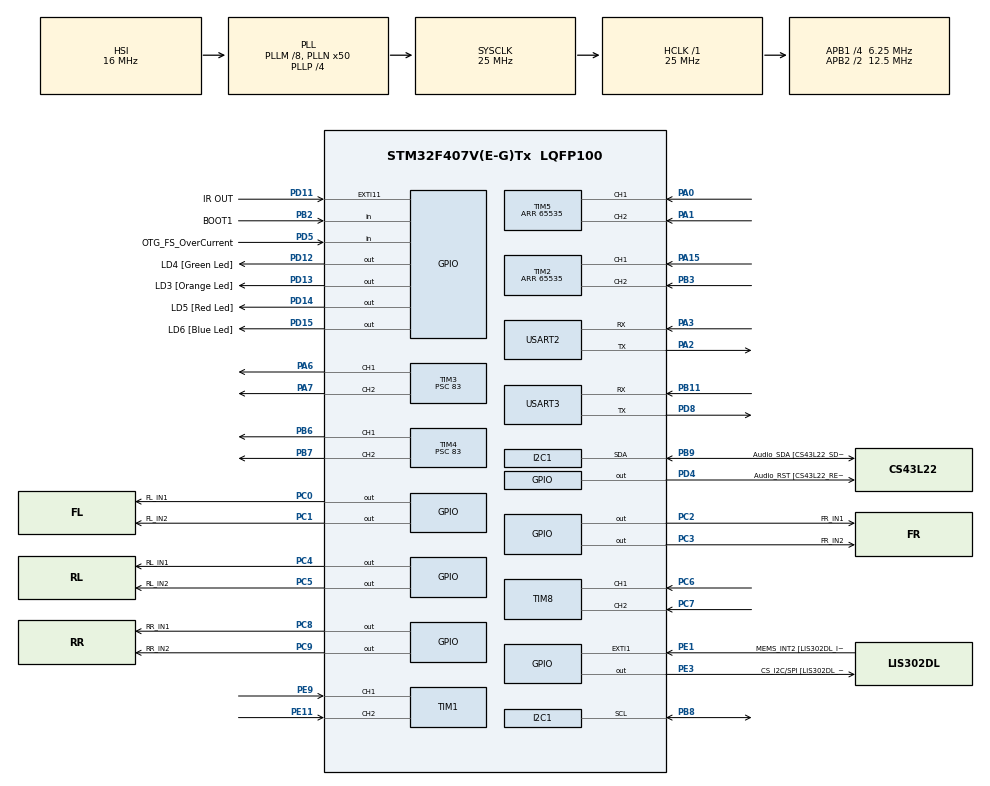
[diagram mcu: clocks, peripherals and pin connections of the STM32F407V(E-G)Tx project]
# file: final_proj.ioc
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Mcu.Family=STM32F4
Mcu.Name=STM32F407V(E-G)Tx
Mcu.Package=LQFP100
NVIC.PriorityGroup=NVIC_PRIORITYGROUP_4
NVIC.TIM7_IRQn=true\:15\:0\:false\:false\:true\:false\:true\:true
NVIC.TimeBase=TIM7_IRQn
NVIC.TimeBaseIP=TIM7
NVIC.USART2_IRQn=true\:0\:0\:false\:false\:true\:true\:true\:true
PA0-WKUP.Signal=S_TIM5_CH1
PA1.Signal=S_TIM5_CH2
PA10.GPIO_Label=OTG_FS_ID
PA10.GPIO_Mode=GPIO_MODE_AF_PP
PA10.GPIO_PuPd=GPIO_NOPULL
PA10.GPIO_Speed=GPIO_SPEED_FREQ_LOW
PA10.Signal=USB_OTG_FS_ID
PA11.GPIO_Label=OTG_FS_DM
PA11.GPIO_Mode=GPIO_MODE_AF_PP
PA11.GPIO_PuPd=GPIO_NOPULL
PA11.GPIO_Speed=GPIO_SPEED_FREQ_LOW
PA11.Signal=USB_OTG_FS_DM
PA12.GPIO_Label=OTG_FS_DP
PA12.GPIO_Mode=GPIO_MODE_AF_PP
PA12.GPIO_PuPd=GPIO_NOPULL
PA12.GPIO_Speed=GPIO_SPEED_FREQ_LOW
PA12.Signal=USB_OTG_FS_DP
PA13.GPIO_Label=SWDIO
PA13.Mode=Serial_Wire
PA13.Signal=SYS_JTMS-SWDIO
PA14.GPIO_Label=SWCLK
PA14.Mode=Serial_Wire
PA14.Signal=SYS_JTCK-SWCLK
PA15.Signal=S_TIM2_CH1_ETR
PA2.Mode=Asynchronous
PA2.Signal=USART2_TX
PA3.Mode=Asynchronous
PA3.Signal=USART2_RX
PA4.GPIO_Label=I2S3_WS [CS43L22_LRCK]
PA4.GPIO_Mode=GPIO_MODE_AF_PP
PA4.GPIO_PuPd=GPIO_NOPULL
PA4.GPIO_Speed=GPIO_SPEED_FREQ_LOW
PA4.Signal=I2S3_WS
PA5.GPIO_Label=SPI1_SCK [LIS302DL_SCL/SPC]
PA5.GPIO_Mode=GPIO_MODE_AF_PP
PA5.GPIO_PuPd=GPIO_NOPULL
PA5.GPIO_Speed=GPIO_SPEED_FREQ_LOW
PA5.Signal=SPI1_SCK
PA6.Signal=S_TIM3_CH1
PA7.Signal=S_TIM3_CH2
PA9.GPIO_Label=VBUS_FS
PA9.GPIO_Mode=GPIO_MODE_INPUT
PA9.GPIO_PuPd=GPIO_NOPULL
PA9.Signal=USB_OTG_FS_VBUS
PB10.GPIO_Label=CLK_IN [MP45DT02_CLK]
PB10.GPIO_Mode=GPIO_MODE_AF_PP
PB10.GPIO_PuPd=GPIO_NOPULL
PB10.GPIO_Speed=GPIO_SPEED_FREQ_LOW
PB10.Signal=I2S2_CK
PB11.Mode=Asynchronous
PB11.Signal=USART3_RX
PB2.GPIO_Label=BOOT1
PB2.GPIO_Mode=GPIO_MODE_INPUT
PB2.GPIO_PuPd=GPIO_NOPULL
PB2.Signal=GPIO_Input
PB3.Signal=S_TIM2_CH2
PB6.Signal=S_TIM4_CH1
PB7.Signal=S_TIM4_CH2
PB8.Mode=I2C
PB8.Signal=I2C1_SCL
PB9.GPIO_Label=Audio_SDA [CS43L22_SDA]
PB9.GPIO_Mode=GPIO_MODE_AF_OD
PB9.GPIO_PuPd=GPIO_NOPULL
PB9.GPIO_Speed=GPIO_SPEED_FREQ_LOW
PB9.Mode=I2C
PB9.Signal=I2C1_SDA
PC0.GPIO_Label=FL_IN1
PC0.Signal=GPIO_Output
PC1.GPIO_Label=FL_IN2
PC1.Signal=GPIO_Output
PC10.GPIO_Label=I2S3_SCK [CS43L22_SCLK]
PC10.GPIO_Mode=GPIO_MODE_AF_PP
PC10.GPIO_PuPd=GPIO_NOPULL
PC10.GPIO_Speed=GPIO_SPEED_FREQ_LOW
PC10.Signal=I2S3_CK
PC12.GPIO_Label=I2S3_SD [CS43L22_SDIN]
PC12.GPIO_Mode=GPIO_MODE_AF_PP
PC12.GPIO_PuPd=GPIO_NOPULL
PC12.GPIO_Speed=GPIO_SPEED_FREQ_LOW
PC12.Signal=I2S3_SD
PC14-OSC32_IN.GPIO_Label=PC14-OSC32_IN
PC14-OSC32_IN.Signal=RCC_OSC32_IN
PC15-OSC32_OUT.GPIO_Label=PC15-OSC32_OUT
PC15-OSC32_OUT.Signal=RCC_OSC32_OUT
PC2.GPIO_Label=FR_IN1
PC2.Signal=GPIO_Output
PC3.GPIO_Label=FR_IN2
PC3.Signal=GPIO_Output
PC4.GPIO_Label=RL_IN1
PC4.Signal=GPIO_Output
PC5.GPIO_Label=RL_IN2
PC5.Signal=GPIO_Output
PC6.Signal=S_TIM8_CH1
PC7.Signal=S_TIM8_CH2
PC8.GPIO_Label=RR_IN1
PC8.Signal=GPIO_Output
PC9.GPIO_Label=RR_IN2
PC9.Signal=GPIO_Output
PD11.GPIO_Label=IR OUT
PD11.Signal=GPXTI11
PD12.GPIO_Label=LD4 [Green Led]
PD12.GPIO_PuPd=GPIO_NOPULL
PD12.GPIO_Speed=GPIO_SPEED_FREQ_LOW
PD12.Signal=GPIO_Output
PD13.GPIO_Label=LD3 [Orange Led]
PD13.GPIO_PuPd=GPIO_NOPULL
PD13.GPIO_Speed=GPIO_SPEED_FREQ_LOW
PD13.Signal=GPIO_Output
PD14.GPIO_Label=LD5 [Red Led]
PD14.GPIO_PuPd=GPIO_NOPULL
PD14.GPIO_Speed=GPIO_SPEED_FREQ_LOW
PD14.Signal=GPIO_Output
PD15.GPIO_Label=LD6 [Blue Led]
PD15.GPIO_PuPd=GPIO_NOPULL
PD15.GPIO_Speed=GPIO_SPEED_FREQ_LOW
PD15.Signal=GPIO_Output
PD4.GPIO_Label=Audio_RST [CS43L22_RESET]
PD4.GPIO_PuPd=GPIO_NOPULL
PD4.GPIO_Speed=GPIO_SPEED_FREQ_LOW
PD4.Signal=GPIO_Output
PD5.GPIO_Label=OTG_FS_OverCurrent
PD5.GPIO_Mode=GPIO_MODE_INPUT
PD5.GPIO_PuPd=GPIO_NOPULL
PD5.Signal=GPIO_Input
PD8.Mode=Asynchronous
PD8.Signal=USART3_TX
PE1.GPIO_Label=MEMS_INT2 [LIS302DL_INT2]
PE1.GPIO_ModeDefaultEXTI=GPIO_MODE_EVT_RISING
PE1.GPIO_PuPd=GPIO_NOPULL
PE1.Signal=GPXTI1
PE11.Signal=S_TIM1_CH2
PE3.GPIO_Label=CS_I2C/SPI [LIS302DL_CS_I2C/SPI]
PE3.GPIO_PuPd=GPIO_NOPULL
PE3.GPIO_Speed=GPIO_SPEED_FREQ_LOW
PE3.Signal=GPIO_Output
PE9.Signal=S_TIM1_CH1
PH0-OSC_IN.GPIO_Label=PH0-OSC_IN
PH0-OSC_IN.Signal=RCC_OSC_IN
PH1-OSC_OUT.GPIO_Label=PH1-OSC_OUT
PH1-OSC_OUT.Signal=RCC_OSC_OUT
ProjectManager.HeapSize=0x200
ProjectManager.StackSize=0x400
ProjectManager.TargetToolchain=STM32CubeIDE
RCC.48MHZClocksFreq_Value=14285714.285714285
RCC.AHBFreq_Value=25000000
RCC.APB1CLKDivider=RCC_HCLK_DIV4
RCC.APB1Freq_Value=6250000
RCC.APB1TimFreq_Value=12500000
RCC.APB2CLKDivider=RCC_HCLK_DIV2
RCC.APB2Freq_Value=12500000
RCC.APB2TimFreq_Value=25000000
RCC.CortexFreq_Value=25000000
RCC.HCLKFreq_Value=25000000
RCC.HSE_VALUE=8000000
RCC.HSI_VALUE=16000000
RCC.LSE_VALUE=32768
RCC.PLLM=8
RCC.PLLN=50
RCC.PLLP=RCC_PLLP_DIV4
RCC.PLLQ=7
RCC.SYSCLKFreq_VALUE=25000000
RCC.SYSCLKSource=RCC_SYSCLKSOURCE_PLLCLK
RCC.VCOOutputFreq_Value=100000000
SH.S_TIM1_CH1.0=TIM1_CH1,Encoder_Interface
SH.S_TIM1_CH2.0=TIM1_CH2,Encoder_Interface
SH.S_TIM2_CH1_ETR.0=TIM2_CH1,Encoder_Interface
SH.S_TIM2_CH2.0=TIM2_CH2,Encoder_Interface
SH.S_TIM3_CH1.0=TIM3_CH1,PWM Generation1 CH1
SH.S_TIM3_CH2.0=TIM3_CH2,PWM Generation2 CH2
SH.S_TIM4_CH1.0=TIM4_CH1,PWM Generation1 CH1
SH.S_TIM4_CH2.0=TIM4_CH2,PWM Generation2 CH2
SH.S_TIM5_CH1.0=TIM5_CH1,Encoder_Interface
SH.S_TIM5_CH2.0=TIM5_CH2,Encoder_Interface
SH.S_TIM8_CH1.0=TIM8_CH1,Encoder_Interface
SH.S_TIM8_CH2.0=TIM8_CH2,Encoder_Interface
TIM1.EncoderMode=TIM_ENCODERMODE_TI12
TIM2.EncoderMode=TIM_ENCODERMODE_TI12
TIM2.Period=65535
TIM3.AutoReloadPreload=TIM_AUTORELOAD_PRELOAD_ENABLE
TIM3.Channel-PWM\ Generation1\ CH1=TIM_CHANNEL_1
TIM3.Channel-PWM\ Generation2\ CH2=TIM_CHANNEL_2
TIM3.Period=999
TIM3.Prescaler=83
TIM4.AutoReloadPreload=TIM_AUTORELOAD_PRELOAD_ENABLE
TIM4.Channel-PWM\ Generation1\ CH1=TIM_CHANNEL_1
TIM4.Channel-PWM\ Generation2\ CH2=TIM_CHANNEL_2
TIM4.Period=999
TIM4.Prescaler=83
TIM5.EncoderMode=TIM_ENCODERMODE_TI12
TIM5.Period=65535
TIM8.EncoderMode=TIM_ENCODERMODE_TI12
USART2.VirtualMode=VM_ASYNC
USART3.VirtualMode=VM_ASYNC
VP_SYS_VS_tim7.Mode=TIM7
VP_TIM3_VS_ClockSourceINT.Mode=Internal
VP_TIM4_VS_ClockSourceINT.Mode=Internal
board=STM32F407G-DISC1

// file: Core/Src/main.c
/* USER CODE BEGIN Header */
/**
  ******************************************************************************
  * @file           : main.c
  * @brief          : Main program body
  ******************************************************************************
  * @attention
  *
  * Copyright (c) 2025 STMicroelectronics.
  * All rights reserved.
  *
  * This software is licensed under terms that can be found in the LICENSE file
  * in the root directory of this software component.
  * If no LICENSE file comes with this software, it is provided AS-IS.
  *
  ******************************************************************************
  */
/* USER CODE END Header */
#include "main.h"

/* USER CODE BEGIN Includes */
#include "FreeRTOS.h"
#include "task.h"
#include <stdlib.h>
#include <stdio.h>
#include <string.h>
#include "myprintf.h"
#include "ssd1306.h"
#include "ssd1306_fonts.h"
/* USER CODE END Includes */

/* USER CODE BEGIN PTD */
typedef struct {
	int16_t speedFL;
	int16_t speedFR;
	int16_t speedRL;
	int16_t speedRR;
} MotorSpeed_t;
typedef enum {
    STATE_RESET,
    STATE_INIT,
    STATE_JOIN_WIFI,
    STATE_CHECK_STATUS,
    STATE_GET_IP,
	STATE_CONNECT_TCP,
    STATE_DONE
} esp8266_state_t;
/* USER CODE END PTD */

/* USER CODE BEGIN PD */
#define MAX_LINEAR_SPEED 0.5f
#define MAX_PWM 999
#define CPR (11*4)
#define GEAR_RATIO 30
#define DT 0.01f
/* USER CODE END PD */

/* USER CODE BEGIN PM */
#define resp_len 128
/* USER CODE END PM */

I2C_HandleTypeDef hi2c1;

TIM_HandleTypeDef htim1;
TIM_HandleTypeDef htim2;
TIM_HandleTypeDef htim3;
TIM_HandleTypeDef htim4;
TIM_HandleTypeDef htim5;
TIM_HandleTypeDef htim8;

UART_HandleTypeDef huart2;
UART_HandleTypeDef huart3;

/* USER CODE BEGIN PV */
MotorSpeed_t motorSpeedCmd = {0};
float scale = MAX_PWM / MAX_LINEAR_SPEED;
int16_t prev_encoder_count[4] = {0};
float motor_rpm[4];
int wheel_rpm[4];
char resp[resp_len];
volatile int if_resp_callback;
volatile int if_resp_timeout;
volatile int resp_index;
float Vx = 0, Vy = 0, W = 0;
/* USER CODE END PV */

void SystemClock_Config(void);
static void MX_GPIO_Init(void);
static void MX_TIM3_Init(void);
static void MX_TIM4_Init(void);
static void MX_TIM1_Init(void);
static void MX_TIM2_Init(void);
static void MX_TIM8_Init(void);
static void MX_TIM5_Init(void);
static void MX_USART3_UART_Init(void);
static void MX_USART2_UART_Init(void);
static void MX_I2C1_Init(void);
/* USER CODE BEGIN PFP */
void KinematicsTask(void*);
void MotorTask(void*);
void CommunicationTask(void*);
void EncoderTask(void*);
void MonitorTask(void*);
/* USER CODE END PFP */

/* USER CODE BEGIN 0 */
void Motor_Set(int motor_id, int16_t speed)
{
    uint8_t dir = (speed >= 0) ? 1 : 0;
    uint16_t pwm = (uint16_t)abs(speed);
    if (pwm > 999) pwm = 999;

    switch(motor_id)
        {
            case 0: // FL
                HAL_GPIO_WritePin(GPIOC, FL_IN1_Pin, dir);
                HAL_GPIO_WritePin(GPIOC, FL_IN2_Pin, !dir);
                __HAL_TIM_SET_COMPARE(&htim3, TIM_CHANNEL_2, pwm);
                break;

            case 1: // FR
                HAL_GPIO_WritePin(GPIOC, FR_IN1_Pin, dir);
                HAL_GPIO_WritePin(GPIOC, FR_IN2_Pin, !dir);
                __HAL_TIM_SET_COMPARE(&htim4, TIM_CHANNEL_2, pwm);
                break;

            case 2: // RL
                HAL_GPIO_WritePin(GPIOC, RL_IN1_Pin, dir);
                HAL_GPIO_WritePin(GPIOC, RL_IN2_Pin, !dir);
                __HAL_TIM_SET_COMPARE(&htim3, TIM_CHANNEL_1, pwm);
                break;

            case 3: // RR
                HAL_GPIO_WritePin(GPIOC, RR_IN1_Pin, dir);
                HAL_GPIO_WritePin(GPIOC, RR_IN2_Pin, !dir);
                __HAL_TIM_SET_COMPARE(&htim4, TIM_CHANNEL_1, pwm);
                break;
        }
}

void MotorTask(void *pvParameter)
{
    for (;;)
    {
        Motor_Set(0, motorSpeedCmd.speedFL);
        Motor_Set(1, motorSpeedCmd.speedFR);
        Motor_Set(2, motorSpeedCmd.speedRL);
        Motor_Set(3, motorSpeedCmd.speedRR);

        vTaskDelay(pdMS_TO_TICKS(20));
    }
}

void KinematicsTask(void *pvParameter)
{
    float L = 0.085f, Wd = 0.085f;

    for (;;)
    {
        motorSpeedCmd.speedFL = (int16_t)((Vx - Vy - W * (L + Wd)) * scale);
        motorSpeedCmd.speedFR = (int16_t)((Vx + Vy + W * (L + Wd)) * scale);
        motorSpeedCmd.speedRL = (int16_t)((Vx + Vy - W * (L + Wd)) * scale);
        motorSpeedCmd.speedRR = (int16_t)((Vx - Vy + W * (L + Wd)) * scale);

        vTaskDelay(pdMS_TO_TICKS(50));
    }
}

void ESP8266_SendCommand(char *cmd)
{
	myprintf(&huart3, "Send command: %s\r\n", cmd);
    myprintf(&huart2, "%s\r\n", cmd);
}

void ESP8266_ReadResponse()
{
    memset(resp, '\0', resp_len);
    if_resp_callback = 0;
    if_resp_timeout = 0;
    resp_index = 0;

    HAL_UART_Receive_IT(&huart2, (uint8_t *)&resp[resp_index], 1);

    uint32_t start_time = HAL_GetTick();

    while (if_resp_callback == 0) {
        if (HAL_GetTick() - start_time > 2000) {
            if_resp_timeout = 1;
            break;
        }
    }
//    vTaskDelay(100);
    //myprintf(&huart3, "Received: %s\r\n", resp);
}

void HAL_UART_RxCpltCallback(UART_HandleTypeDef *huart)
{
	// Skip storing \r in first byte
	if (huart->Instance == USART2) {
		uint8_t byte = (uint8_t)huart->Instance->DR;  // or however you read the data

		// Skip first \r, \n
		if (resp_index == 0 && (byte == '\r' || byte == '\n')) {
			HAL_UART_Receive_IT(&huart2, (uint8_t *)&resp[resp_index], 1);
			return;
		}

		resp[resp_index] = byte;
		resp_index++;

		HAL_UART_Receive_IT(&huart2, (uint8_t *)&resp[resp_index], 1);

		if (resp[resp_index - 1] == '\n' || if_resp_timeout == 1) {
			resp[resp_index] = '\0';
			if_resp_callback = 1;
		}
	}
}

void showIP_task(void *pvParameters)
{
    esp8266_state_t state = STATE_RESET;
    int retry = 0;

    while (1) {
        switch (state) {
        case STATE_RESET:
            ESP8266_SendCommand("AT+RST");
            ESP8266_ReadResponse();
            vTaskDelay(3000);
            if (strstr(resp, "OK")) {
                state = STATE_INIT;
                retry = 0;
            } else if (++retry > 3) {
                myprintf(&huart3, "Reset failed, retrying...\r\n");
                retry = 0;
            }
            break;

        case STATE_INIT:
            ESP8266_SendCommand("AT");  // Test AT startup
            ESP8266_ReadResponse();
            vTaskDelay(3000);
            ESP8266_SendCommand("AT+CWMODE=1");  // Set station mode
            ESP8266_ReadResponse();
            state = STATE_JOIN_WIFI;
            break;

        case STATE_JOIN_WIFI:
            ESP8266_SendCommand("AT+CWJAP=\"aiRobots_92829\",\"ic2sic2sic2s\"");
            ESP8266_ReadResponse();
            vTaskDelay(3000);
            if (strstr(resp + 1, "WIFI CONNECTED") || strstr(resp + 1, "OK")) {
                state = STATE_CHECK_STATUS;
                retry = 0;
            } else if (++retry > 5) {
                myprintf(&huart3, "WiFi join failed, retrying...\r\n");
                state = STATE_RESET;
                retry = 0;
            }
            vTaskDelay(3000);
            break;

        case STATE_CHECK_STATUS:
            ESP8266_SendCommand("AT+CIPSTATUS");
            ESP8266_ReadResponse();
            vTaskDelay(3000);
            if (strstr(resp + 1, "STATUS:2") || strstr(resp + 1, "STATUS:3") || strstr(resp + 1, "OK")) {
                state = STATE_GET_IP;
            }
            break;

        case STATE_GET_IP:
            ESP8266_SendCommand("AT+CIFSR");
            ESP8266_ReadResponse();
            vTaskDelay(3000);
            state = STATE_CONNECT_TCP;
            break;
        case STATE_CONNECT_TCP:
        	ESP8266_SendCommand("AT+CIPMUX=0");
        	ESP8266_ReadResponse();
        	vTaskDelay(3000);
        	ESP8266_SendCommand("AT+CIPSTART=\"TCP\",\"192.168.1.117\",5000");
        	ESP8266_ReadResponse();
        	state = STATE_DONE;
        case STATE_DONE:
            ESP8266_ReadResponse();  // Check for any +IPD data
            char *data_start = strstr(resp, "+IPD,");
            if (data_start) {
                data_start = strchr(data_start, ':');
                if (data_start) {
                    data_start++;  // Skip the ':'
                    myprintf(&huart3, "Received from PC: %s\r\n", data_start);

                    float vx_tmp = 0.0f, vy_tmp = 0.0f, w_tmp = 0.0f;
					int parsed = sscanf(data_start, "%f,%f,%f", &vx_tmp, &vy_tmp, &w_tmp);
					GPIO_PinState pinState = HAL_GPIO_ReadPin(IR_OUT_GPIO_Port, IR_OUT_Pin);
					if (parsed != 3){
						Vx = 0;
						Vy = 0;
						W  = 0;
					}else if(pinState == GPIO_PIN_RESET){
						Vx = -0.2;
						Vy = 0;
						W  = 0;
					}else {
						Vx = vx_tmp;
						Vy = vy_tmp;
						W  = w_tmp;
					}
                }
                state = STATE_DONE;
                vTaskDelay(1);
                break;
            }else if(strstr(resp, "LOSED")) { // Handle lost the connect to server
            	state = STATE_RESET;
            	break;
            }else{
            	//myprintf(&huart3, "Unexpected response: %s\r\n", data_start);
				state = STATE_DONE;
				Vx = 0, Vy = 0, W = 0;
				vTaskDelay(1);
				break;
            }
        default:
            state = STATE_RESET;
            break;
        }
    }
}

void EncoderTask(void *pvParameter)
{
    int16_t curr_count[4];
    int16_t delta;

    for (;;)
    {
        curr_count[0] = __HAL_TIM_GET_COUNTER(&htim1);
        curr_count[1] = __HAL_TIM_GET_COUNTER(&htim2);
        curr_count[2] = __HAL_TIM_GET_COUNTER(&htim5);
        curr_count[3] = __HAL_TIM_GET_COUNTER(&htim8);

        for (int i = 0; i < 4; i++)
        {
            delta = curr_count[i] - prev_encoder_count[i];
            if (delta > 32767) delta -= 65536;
            else if (delta < -32768) delta += 65536;
            prev_encoder_count[i] = curr_count[i];

            // 計算 RPM
            motor_rpm[i] = (float)delta / CPR * (60.0f / DT);
            wheel_rpm[i] = motor_rpm[i] / GEAR_RATIO;
        }

        vTaskDelay(pdMS_TO_TICKS(10));
    }
}

//void MonitorTask(void *pvParameter)
//{
//    char MonitorTset[120];
//    int16_t curr_count[4];
//    for (;;)
//    {
//        curr_count[0] = __HAL_TIM_GET_COUNTER(&htim1); // FL
//        curr_count[1] = __HAL_TIM_GET_COUNTER(&htim2); // FR
//        curr_count[2] = __HAL_TIM_GET_COUNTER(&htim5); // RL
//        curr_count[3] = __HAL_TIM_GET_COUNTER(&htim8); // RR
//        sprintf(MonitorTset,
//                "FL: %d (cmd: %d, cnt: %d), FR: %d (cmd: %d, cnt: %d), RL: %d (cmd: %d, cnt: %d), RR: %d (cmd: %d, cnt: %d)\r\n",
//                wheel_rpm[0], motorSpeedCmd.speedFL, curr_count[0],
//                wheel_rpm[1], motorSpeedCmd.speedFR, curr_count[1],
//                wheel_rpm[2], motorSpeedCmd.speedRL, curr_count[2],
//                wheel_rpm[3], motorSpeedCmd.speedRR, curr_count[3]);
//        HAL_UART_Transmit(&huart3, (uint8_t *)MonitorTset, strlen(MonitorTset), 0xffff);
//        vTaskDelay(pdMS_TO_TICKS(1000));
//    }
//}

void HAL_GPIO_EXIT_Callback(uint16_t GPIO_Pin){
	if (GPIO_Pin == IR_OUT_Pin)  // Check if the interrupt was triggered by IR_OUT_Pin
		{
	        GPIO_PinState pinState = HAL_GPIO_ReadPin(IR_OUT_GPIO_Port, IR_OUT_Pin);
	        if (pinState == GPIO_PIN_RESET)
	        {
	        	Vx = 0, Vy = 0, W = 0;
	        	myprintf(&huart3, "Stop\r\n");
	        }

	    }
}

void OLED_Task(void *pvParameter) {
    char line[30];  // 每行最長約 21 字元

    ssd1306_Init();
    ssd1306_Fill(Black);
    ssd1306_UpdateScreen();

    for (;;) {
        ssd1306_Fill(Black);  // 清空畫面

        // 第一行：FL & FR
        sprintf(line, "FL:%3d  FR:%3d", wheel_rpm[0], wheel_rpm[1]);
        ssd1306_SetCursor(0, 0);
        ssd1306_WriteString(line, Font_7x10, White);

        // 第二行：RL & RR
        sprintf(line, "RL:%3d  RR:%3d", wheel_rpm[2], wheel_rpm[3]);
        ssd1306_SetCursor(0, 16);
        ssd1306_WriteString(line, Font_7x10, White);

        ssd1306_UpdateScreen();
        vTaskDelay(100); // 每 100ms 更新一次
    }
}

/* USER CODE END 0 */

int main(void)
{

  /* MCU Configuration--------------------------------------------------------*/

  /* Reset of all peripherals, Initializes the Flash interface and the Systick. */
  HAL_Init();

  /* Configure the system clock */
  SystemClock_Config();

  /* Initialize all configured peripherals */
  MX_GPIO_Init();
  MX_TIM3_Init();
  MX_TIM4_Init();
  MX_TIM1_Init();
  MX_TIM2_Init();
  MX_TIM8_Init();
  MX_TIM5_Init();
  MX_USART3_UART_Init();
  MX_USART2_UART_Init();
  MX_I2C1_Init();
  /* USER CODE BEGIN 2 */
  HAL_TIM_PWM_Start(&htim3, TIM_CHANNEL_1);
  HAL_TIM_PWM_Start(&htim3, TIM_CHANNEL_2);
  HAL_TIM_PWM_Start(&htim4, TIM_CHANNEL_1);
  HAL_TIM_PWM_Start(&htim4, TIM_CHANNEL_2);

  HAL_TIM_Encoder_Start(&htim1, TIM_CHANNEL_ALL);
  HAL_TIM_Encoder_Start(&htim2, TIM_CHANNEL_ALL);
  HAL_TIM_Encoder_Start(&htim5, TIM_CHANNEL_ALL);
  HAL_TIM_Encoder_Start(&htim8, TIM_CHANNEL_ALL);

  xTaskCreate(KinematicsTask, "Kinematics", 128, NULL, 2, NULL);
  xTaskCreate(MotorTask, "Motor", 128, NULL, 3, NULL);
  xTaskCreate(showIP_task, "Comm", 512, NULL, 2, NULL);
  xTaskCreate(EncoderTask, "Encoder", 128, NULL, 3, NULL);
  xTaskCreate(OLED_Task, "OLED_Task", 256, NULL, 3, NULL);
  //xTaskCreate(MonitorTask, "Monitor", 256, NULL, 1, NULL);

  vTaskStartScheduler();
  /* USER CODE END 2 */

  /* Infinite loop */
  while (1)
  {

  }
}

void SystemClock_Config(void)
{
  RCC_OscInitTypeDef RCC_OscInitStruct = {0};
  RCC_ClkInitTypeDef RCC_ClkInitStruct = {0};

  /** Configure the main internal regulator output voltage
  */
  __HAL_RCC_PWR_CLK_ENABLE();
  __HAL_PWR_VOLTAGESCALING_CONFIG(PWR_REGULATOR_VOLTAGE_SCALE1);

  /** Initializes the RCC Oscillators according to the specified parameters
  * in the RCC_OscInitTypeDef structure.
  */
  RCC_OscInitStruct.OscillatorType = RCC_OSCILLATORTYPE_HSI;
  RCC_OscInitStruct.HSIState = RCC_HSI_ON;
  RCC_OscInitStruct.HSICalibrationValue = RCC_HSICALIBRATION_DEFAULT;
  RCC_OscInitStruct.PLL.PLLState = RCC_PLL_ON;
  RCC_OscInitStruct.PLL.PLLSource = RCC_PLLSOURCE_HSI;
  RCC_OscInitStruct.PLL.PLLM = 8;
  RCC_OscInitStruct.PLL.PLLN = 50;
  RCC_OscInitStruct.PLL.PLLP = RCC_PLLP_DIV4;
  RCC_OscInitStruct.PLL.PLLQ = 7;
  if (HAL_RCC_OscConfig(&RCC_OscInitStruct) != HAL_OK)
  {
    Error_Handler();
  }

  /** Initializes the CPU, AHB and APB buses clocks
  */
  RCC_ClkInitStruct.ClockType = RCC_CLOCKTYPE_HCLK|RCC_CLOCKTYPE_SYSCLK
                              |RCC_CLOCKTYPE_PCLK1|RCC_CLOCKTYPE_PCLK2;
  RCC_ClkInitStruct.SYSCLKSource = RCC_SYSCLKSOURCE_PLLCLK;
  RCC_ClkInitStruct.AHBCLKDivider = RCC_SYSCLK_DIV1;
  RCC_ClkInitStruct.APB1CLKDivider = RCC_HCLK_DIV4;
  RCC_ClkInitStruct.APB2CLKDivider = RCC_HCLK_DIV2;

  if (HAL_RCC_ClockConfig(&RCC_ClkInitStruct, FLASH_LATENCY_0) != HAL_OK)
  {
    Error_Handler();
  }
}

static void MX_I2C1_Init(void)
{

  hi2c1.Instance = I2C1;
  hi2c1.Init.ClockSpeed = 100000;
  hi2c1.Init.DutyCycle = I2C_DUTYCYCLE_2;
  hi2c1.Init.OwnAddress1 = 0;
  hi2c1.Init.AddressingMode = I2C_ADDRESSINGMODE_7BIT;
  hi2c1.Init.DualAddressMode = I2C_DUALADDRESS_DISABLE;
  hi2c1.Init.OwnAddress2 = 0;
  hi2c1.Init.GeneralCallMode = I2C_GENERALCALL_DISABLE;
  hi2c1.Init.NoStretchMode = I2C_NOSTRETCH_DISABLE;
  if (HAL_I2C_Init(&hi2c1) != HAL_OK)
  {
    Error_Handler();
  }

}

static void MX_TIM1_Init(void)
{

  TIM_Encoder_InitTypeDef sConfig = {0};
  TIM_MasterConfigTypeDef sMasterConfig = {0};

  htim1.Instance = TIM1;
  htim1.Init.Prescaler = 0;
  htim1.Init.CounterMode = TIM_COUNTERMODE_UP;
  htim1.Init.Period = 65535;
  htim1.Init.ClockDivision = TIM_CLOCKDIVISION_DIV1;
  htim1.Init.RepetitionCounter = 0;
  htim1.Init.AutoReloadPreload = TIM_AUTORELOAD_PRELOAD_DISABLE;
  sConfig.EncoderMode = TIM_ENCODERMODE_TI12;
  sConfig.IC1Polarity = TIM_ICPOLARITY_RISING;
  sConfig.IC1Selection = TIM_ICSELECTION_DIRECTTI;
  sConfig.IC1Prescaler = TIM_ICPSC_DIV1;
  sConfig.IC1Filter = 0;
  sConfig.IC2Polarity = TIM_ICPOLARITY_RISING;
  sConfig.IC2Selection = TIM_ICSELECTION_DIRECTTI;
  sConfig.IC2Prescaler = TIM_ICPSC_DIV1;
  sConfig.IC2Filter = 0;
  if (HAL_TIM_Encoder_Init(&htim1, &sConfig) != HAL_OK)
  {
    Error_Handler();
  }
  sMasterConfig.MasterOutputTrigger = TIM_TRGO_RESET;
  sMasterConfig.MasterSlaveMode = TIM_MASTERSLAVEMODE_DISABLE;
  if (HAL_TIMEx_MasterConfigSynchronization(&htim1, &sMasterConfig) != HAL_OK)
  {
    Error_Handler();
  }

}

static void MX_TIM2_Init(void)
{

  TIM_Encoder_InitTypeDef sConfig = {0};
  TIM_MasterConfigTypeDef sMasterConfig = {0};

  htim2.Instance = TIM2;
  htim2.Init.Prescaler = 0;
  htim2.Init.CounterMode = TIM_COUNTERMODE_UP;
  htim2.Init.Period = 65535;
  htim2.Init.ClockDivision = TIM_CLOCKDIVISION_DIV1;
  htim2.Init.AutoReloadPreload = TIM_AUTORELOAD_PRELOAD_DISABLE;
  sConfig.EncoderMode = TIM_ENCODERMODE_TI12;
  sConfig.IC1Polarity = TIM_ICPOLARITY_RISING;
  sConfig.IC1Selection = TIM_ICSELECTION_DIRECTTI;
  sConfig.IC1Prescaler = TIM_ICPSC_DIV1;
  sConfig.IC1Filter = 0;
  sConfig.IC2Polarity = TIM_ICPOLARITY_RISING;
  sConfig.IC2Selection = TIM_ICSELECTION_DIRECTTI;
  sConfig.IC2Prescaler = TIM_ICPSC_DIV1;
  sConfig.IC2Filter = 0;
  if (HAL_TIM_Encoder_Init(&htim2, &sConfig) != HAL_OK)
  {
    Error_Handler();
  }
  sMasterConfig.MasterOutputTrigger = TIM_TRGO_RESET;
  sMasterConfig.MasterSlaveMode = TIM_MASTERSLAVEMODE_DISABLE;
  if (HAL_TIMEx_MasterConfigSynchronization(&htim2, &sMasterConfig) != HAL_OK)
  {
    Error_Handler();
  }

}

static void MX_TIM3_Init(void)
{

  TIM_ClockConfigTypeDef sClockSourceConfig = {0};
  TIM_MasterConfigTypeDef sMasterConfig = {0};
  TIM_OC_InitTypeDef sConfigOC = {0};

  htim3.Instance = TIM3;
  htim3.Init.Prescaler = 83;
  htim3.Init.CounterMode = TIM_COUNTERMODE_UP;
  htim3.Init.Period = 999;
  htim3.Init.ClockDivision = TIM_CLOCKDIVISION_DIV1;
  htim3.Init.AutoReloadPreload = TIM_AUTORELOAD_PRELOAD_ENABLE;
  if (HAL_TIM_Base_Init(&htim3) != HAL_OK)
  {
    Error_Handler();
  }
  sClockSourceConfig.ClockSource = TIM_CLOCKSOURCE_INTERNAL;
  if (HAL_TIM_ConfigClockSource(&htim3, &sClockSourceConfig) != HAL_OK)
  {
    Error_Handler();
  }
  if (HAL_TIM_PWM_Init(&htim3) != HAL_OK)
  {
    Error_Handler();
  }
  sMasterConfig.MasterOutputTrigger = TIM_TRGO_RESET;
  sMasterConfig.MasterSlaveMode = TIM_MASTERSLAVEMODE_DISABLE;
  if (HAL_TIMEx_MasterConfigSynchronization(&htim3, &sMasterConfig) != HAL_OK)
  {
    Error_Handler();
  }
  sConfigOC.OCMode = TIM_OCMODE_PWM1;
  sConfigOC.Pulse = 0;
  sConfigOC.OCPolarity = TIM_OCPOLARITY_HIGH;
  sConfigOC.OCFastMode = TIM_OCFAST_DISABLE;
  if (HAL_TIM_PWM_ConfigChannel(&htim3, &sConfigOC, TIM_CHANNEL_1) != HAL_OK)
  {
    Error_Handler();
  }
  if (HAL_TIM_PWM_ConfigChannel(&htim3, &sConfigOC, TIM_CHANNEL_2) != HAL_OK)
  {
    Error_Handler();
  }
  HAL_TIM_MspPostInit(&htim3);

}

static void MX_TIM4_Init(void)
{

  TIM_ClockConfigTypeDef sClockSourceConfig = {0};
  TIM_MasterConfigTypeDef sMasterConfig = {0};
  TIM_OC_InitTypeDef sConfigOC = {0};

  htim4.Instance = TIM4;
  htim4.Init.Prescaler = 83;
  htim4.Init.CounterMode = TIM_COUNTERMODE_UP;
  htim4.Init.Period = 999;
  htim4.Init.ClockDivision = TIM_CLOCKDIVISION_DIV1;
  htim4.Init.AutoReloadPreload = TIM_AUTORELOAD_PRELOAD_ENABLE;
  if (HAL_TIM_Base_Init(&htim4) != HAL_OK)
  {
    Error_Handler();
  }
  sClockSourceConfig.ClockSource = TIM_CLOCKSOURCE_INTERNAL;
  if (HAL_TIM_ConfigClockSource(&htim4, &sClockSourceConfig) != HAL_OK)
  {
    Error_Handler();
  }
  if (HAL_TIM_PWM_Init(&htim4) != HAL_OK)
  {
    Error_Handler();
  }
  sMasterConfig.MasterOutputTrigger = TIM_TRGO_RESET;
  sMasterConfig.MasterSlaveMode = TIM_MASTERSLAVEMODE_DISABLE;
  if (HAL_TIMEx_MasterConfigSynchronization(&htim4, &sMasterConfig) != HAL_OK)
  {
    Error_Handler();
  }
  sConfigOC.OCMode = TIM_OCMODE_PWM1;
  sConfigOC.Pulse = 0;
  sConfigOC.OCPolarity = TIM_OCPOLARITY_HIGH;
  sConfigOC.OCFastMode = TIM_OCFAST_DISABLE;
  if (HAL_TIM_PWM_ConfigChannel(&htim4, &sConfigOC, TIM_CHANNEL_1) != HAL_OK)
  {
    Error_Handler();
  }
  if (HAL_TIM_PWM_ConfigChannel(&htim4, &sConfigOC, TIM_CHANNEL_2) != HAL_OK)
  {
    Error_Handler();
  }
  HAL_TIM_MspPostInit(&htim4);

}

static void MX_TIM5_Init(void)
{

  TIM_Encoder_InitTypeDef sConfig = {0};
  TIM_MasterConfigTypeDef sMasterConfig = {0};

  htim5.Instance = TIM5;
  htim5.Init.Prescaler = 0;
  htim5.Init.CounterMode = TIM_COUNTERMODE_UP;
  htim5.Init.Period = 65535;
  htim5.Init.ClockDivision = TIM_CLOCKDIVISION_DIV1;
  htim5.Init.AutoReloadPreload = TIM_AUTORELOAD_PRELOAD_DISABLE;
  sConfig.EncoderMode = TIM_ENCODERMODE_TI12;
  sConfig.IC1Polarity = TIM_ICPOLARITY_RISING;
  sConfig.IC1Selection = TIM_ICSELECTION_DIRECTTI;
  sConfig.IC1Prescaler = TIM_ICPSC_DIV1;
  sConfig.IC1Filter = 0;
  sConfig.IC2Polarity = TIM_ICPOLARITY_RISING;
  sConfig.IC2Selection = TIM_ICSELECTION_DIRECTTI;
  sConfig.IC2Prescaler = TIM_ICPSC_DIV1;
  sConfig.IC2Filter = 0;
  if (HAL_TIM_Encoder_Init(&htim5, &sConfig) != HAL_OK)
  {
    Error_Handler();
  }
  sMasterConfig.MasterOutputTrigger = TIM_TRGO_RESET;
  sMasterConfig.MasterSlaveMode = TIM_MASTERSLAVEMODE_DISABLE;
  if (HAL_TIMEx_MasterConfigSynchronization(&htim5, &sMasterConfig) != HAL_OK)
  {
    Error_Handler();
  }

}

static void MX_TIM8_Init(void)
{

  TIM_Encoder_InitTypeDef sConfig = {0};
  TIM_MasterConfigTypeDef sMasterConfig = {0};

  htim8.Instance = TIM8;
  htim8.Init.Prescaler = 0;
  htim8.Init.CounterMode = TIM_COUNTERMODE_UP;
  htim8.Init.Period = 65535;
  htim8.Init.ClockDivision = TIM_CLOCKDIVISION_DIV1;
  htim8.Init.RepetitionCounter = 0;
  htim8.Init.AutoReloadPreload = TIM_AUTORELOAD_PRELOAD_DISABLE;
  sConfig.EncoderMode = TIM_ENCODERMODE_TI12;
  sConfig.IC1Polarity = TIM_ICPOLARITY_RISING;
  sConfig.IC1Selection = TIM_ICSELECTION_DIRECTTI;
  sConfig.IC1Prescaler = TIM_ICPSC_DIV1;
  sConfig.IC1Filter = 0;
  sConfig.IC2Polarity = TIM_ICPOLARITY_RISING;
  sConfig.IC2Selection = TIM_ICSELECTION_DIRECTTI;
  sConfig.IC2Prescaler = TIM_ICPSC_DIV1;
  sConfig.IC2Filter = 0;
  if (HAL_TIM_Encoder_Init(&htim8, &sConfig) != HAL_OK)
  {
    Error_Handler();
  }
  sMasterConfig.MasterOutputTrigger = TIM_TRGO_RESET;
  sMasterConfig.MasterSlaveMode = TIM_MASTERSLAVEMODE_DISABLE;
  if (HAL_TIMEx_MasterConfigSynchronization(&htim8, &sMasterConfig) != HAL_OK)
  {
    Error_Handler();
  }

}

static void MX_USART2_UART_Init(void)
{

  huart2.Instance = USART2;
  huart2.Init.BaudRate = 115200;
  huart2.Init.WordLength = UART_WORDLENGTH_8B;
  huart2.Init.StopBits = UART_STOPBITS_1;
  huart2.Init.Parity = UART_PARITY_NONE;
  huart2.Init.Mode = UART_MODE_TX_RX;
  huart2.Init.HwFlowCtl = UART_HWCONTROL_NONE;
  huart2.Init.OverSampling = UART_OVERSAMPLING_16;
  if (HAL_UART_Init(&huart2) != HAL_OK)
  {
    Error_Handler();
  }

}

static void MX_USART3_UART_Init(void)
{

  huart3.Instance = USART3;
  huart3.Init.BaudRate = 115200;
  huart3.Init.WordLength = UART_WORDLENGTH_8B;
  huart3.Init.StopBits = UART_STOPBITS_1;
  huart3.Init.Parity = UART_PARITY_NONE;
  huart3.Init.Mode = UART_MODE_TX_RX;
  huart3.Init.HwFlowCtl = UART_HWCONTROL_NONE;
  huart3.Init.OverSampling = UART_OVERSAMPLING_16;
  if (HAL_UART_Init(&huart3) != HAL_OK)
  {
    Error_Handler();
  }

}

static void MX_GPIO_Init(void)
{
  GPIO_InitTypeDef GPIO_InitStruct = {0};

  /* GPIO Ports Clock Enable */
  __HAL_RCC_GPIOE_CLK_ENABLE();
  __HAL_RCC_GPIOC_CLK_ENABLE();
  __HAL_RCC_GPIOH_CLK_ENABLE();
  __HAL_RCC_GPIOA_CLK_ENABLE();
  __HAL_RCC_GPIOB_CLK_ENABLE();
  __HAL_RCC_GPIOD_CLK_ENABLE();

  /*Configure GPIO pin Output Level */
  HAL_GPIO_WritePin(CS_I2C_SPI_GPIO_Port, CS_I2C_SPI_Pin, GPIO_PIN_RESET);

  /*Configure GPIO pin Output Level */
  HAL_GPIO_WritePin(GPIOC, FL_IN1_Pin|FL_IN2_Pin|FR_IN1_Pin|FR_IN2_Pin
                          |RL_IN1_Pin|RL_IN2_Pin|RR_IN1_Pin|RR_IN2_Pin, GPIO_PIN_RESET);

  /*Configure GPIO pin Output Level */
  HAL_GPIO_WritePin(GPIOD, LD4_Pin|LD3_Pin|LD5_Pin|LD6_Pin
                          |Audio_RST_Pin, GPIO_PIN_RESET);

  /*Configure GPIO pin : CS_I2C_SPI_Pin */
  GPIO_InitStruct.Pin = CS_I2C_SPI_Pin;
  GPIO_InitStruct.Mode = GPIO_MODE_OUTPUT_PP;
  GPIO_InitStruct.Pull = GPIO_NOPULL;
  GPIO_InitStruct.Speed = GPIO_SPEED_FREQ_LOW;
  HAL_GPIO_Init(CS_I2C_SPI_GPIO_Port, &GPIO_InitStruct);

  /*Configure GPIO pins : FL_IN1_Pin FL_IN2_Pin FR_IN1_Pin FR_IN2_Pin
                           RL_IN1_Pin RL_IN2_Pin RR_IN1_Pin RR_IN2_Pin */
  GPIO_InitStruct.Pin = FL_IN1_Pin|FL_IN2_Pin|FR_IN1_Pin|FR_IN2_Pin
                          |RL_IN1_Pin|RL_IN2_Pin|RR_IN1_Pin|RR_IN2_Pin;
  GPIO_InitStruct.Mode = GPIO_MODE_OUTPUT_PP;
  GPIO_InitStruct.Pull = GPIO_NOPULL;
  GPIO_InitStruct.Speed = GPIO_SPEED_FREQ_LOW;
  HAL_GPIO_Init(GPIOC, &GPIO_InitStruct);

  /*Configure GPIO pin : I2S3_WS_Pin */
  GPIO_InitStruct.Pin = I2S3_WS_Pin;
  GPIO_InitStruct.Mode = GPIO_MODE_AF_PP;
  GPIO_InitStruct.Pull = GPIO_NOPULL;
  GPIO_InitStruct.Speed = GPIO_SPEED_FREQ_LOW;
  GPIO_InitStruct.Alternate = GPIO_AF6_SPI3;
  HAL_GPIO_Init(I2S3_WS_GPIO_Port, &GPIO_InitStruct);

  /*Configure GPIO pin : SPI1_SCK_Pin */
  GPIO_InitStruct.Pin = SPI1_SCK_Pin;
  GPIO_InitStruct.Mode = GPIO_MODE_AF_PP;
  GPIO_InitStruct.Pull = GPIO_NOPULL;
  GPIO_InitStruct.Speed = GPIO_SPEED_FREQ_LOW;
  GPIO_InitStruct.Alternate = GPIO_AF5_SPI1;
  HAL_GPIO_Init(SPI1_SCK_GPIO_Port, &GPIO_InitStruct);

  /*Configure GPIO pin : BOOT1_Pin */
  GPIO_InitStruct.Pin = BOOT1_Pin;
  GPIO_InitStruct.Mode = GPIO_MODE_INPUT;
  GPIO_InitStruct.Pull = GPIO_NOPULL;
  HAL_GPIO_Init(BOOT1_GPIO_Port, &GPIO_InitStruct);

  /*Configure GPIO pin : CLK_IN_Pin */
  GPIO_InitStruct.Pin = CLK_IN_Pin;
  GPIO_InitStruct.Mode = GPIO_MODE_AF_PP;
  GPIO_InitStruct.Pull = GPIO_NOPULL;
  GPIO_InitStruct.Speed = GPIO_SPEED_FREQ_LOW;
  GPIO_InitStruct.Alternate = GPIO_AF5_SPI2;
  HAL_GPIO_Init(CLK_IN_GPIO_Port, &GPIO_InitStruct);

  /*Configure GPIO pin : IR_OUT_Pin */
  GPIO_InitStruct.Pin = IR_OUT_Pin;
  GPIO_InitStruct.Mode = GPIO_MODE_IT_RISING;
  GPIO_InitStruct.Pull = GPIO_NOPULL;
  HAL_GPIO_Init(IR_OUT_GPIO_Port, &GPIO_InitStruct);

  /*Configure GPIO pins : LD4_Pin LD3_Pin LD5_Pin LD6_Pin
                           Audio_RST_Pin */
  GPIO_InitStruct.Pin = LD4_Pin|LD3_Pin|LD5_Pin|LD6_Pin
                          |Audio_RST_Pin;
  GPIO_InitStruct.Mode = GPIO_MODE_OUTPUT_PP;
  GPIO_InitStruct.Pull = GPIO_NOPULL;
  GPIO_InitStruct.Speed = GPIO_SPEED_FREQ_LOW;
  HAL_GPIO_Init(GPIOD, &GPIO_InitStruct);

  /*Configure GPIO pin : VBUS_FS_Pin */
  GPIO_InitStruct.Pin = VBUS_FS_Pin;
  GPIO_InitStruct.Mode = GPIO_MODE_INPUT;
  GPIO_InitStruct.Pull = GPIO_NOPULL;
  HAL_GPIO_Init(VBUS_FS_GPIO_Port, &GPIO_InitStruct);

  /*Configure GPIO pins : OTG_FS_ID_Pin OTG_FS_DM_Pin OTG_FS_DP_Pin */
  GPIO_InitStruct.Pin = OTG_FS_ID_Pin|OTG_FS_DM_Pin|OTG_FS_DP_Pin;
  GPIO_InitStruct.Mode = GPIO_MODE_AF_PP;
  GPIO_InitStruct.Pull = GPIO_NOPULL;
  GPIO_InitStruct.Speed = GPIO_SPEED_FREQ_LOW;
  GPIO_InitStruct.Alternate = GPIO_AF10_OTG_FS;
  HAL_GPIO_Init(GPIOA, &GPIO_InitStruct);

  /*Configure GPIO pins : I2S3_SCK_Pin I2S3_SD_Pin */
  GPIO_InitStruct.Pin = I2S3_SCK_Pin|I2S3_SD_Pin;
  GPIO_InitStruct.Mode = GPIO_MODE_AF_PP;
  GPIO_InitStruct.Pull = GPIO_NOPULL;
  GPIO_InitStruct.Speed = GPIO_SPEED_FREQ_LOW;
  GPIO_InitStruct.Alternate = GPIO_AF6_SPI3;
  HAL_GPIO_Init(GPIOC, &GPIO_InitStruct);

  /*Configure GPIO pin : OTG_FS_OverCurrent_Pin */
  GPIO_InitStruct.Pin = OTG_FS_OverCurrent_Pin;
  GPIO_InitStruct.Mode = GPIO_MODE_INPUT;
  GPIO_InitStruct.Pull = GPIO_NOPULL;
  HAL_GPIO_Init(OTG_FS_OverCurrent_GPIO_Port, &GPIO_InitStruct);

  /*Configure GPIO pin : MEMS_INT2_Pin */
  GPIO_InitStruct.Pin = MEMS_INT2_Pin;
  GPIO_InitStruct.Mode = GPIO_MODE_EVT_RISING;
  GPIO_InitStruct.Pull = GPIO_NOPULL;
  HAL_GPIO_Init(MEMS_INT2_GPIO_Port, &GPIO_InitStruct);

}

void HAL_TIM_PeriodElapsedCallback(TIM_HandleTypeDef *htim)
{
  if (htim->Instance == TIM7) {
    HAL_IncTick();
  }
}

void Error_Handler(void)
{
  __disable_irq();
  while (1)
  {
  }
}
